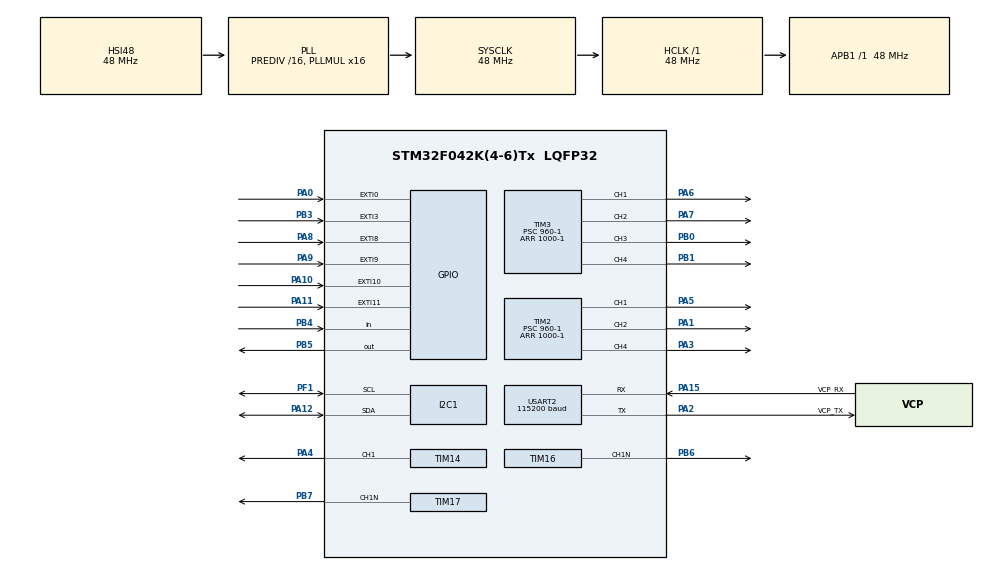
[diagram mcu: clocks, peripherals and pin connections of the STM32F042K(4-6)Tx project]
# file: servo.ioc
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Dma.Request0=USART2_RX
Dma.USART2_RX.0.Direction=DMA_PERIPH_TO_MEMORY
Dma.USART2_RX.0.Instance=DMA1_Channel5
Dma.USART2_RX.0.MemDataAlignment=DMA_MDATAALIGN_BYTE
Dma.USART2_RX.0.MemInc=DMA_MINC_ENABLE
Dma.USART2_RX.0.Mode=DMA_NORMAL
Dma.USART2_RX.0.PeriphDataAlignment=DMA_PDATAALIGN_BYTE
Dma.USART2_RX.0.PeriphInc=DMA_PINC_DISABLE
Dma.USART2_RX.0.Priority=DMA_PRIORITY_LOW
Mcu.Family=STM32F0
Mcu.Name=STM32F042K(4-6)Tx
Mcu.Package=LQFP32
NVIC.DMA1_Channel4_5_IRQn=true\:0\:0\:false\:false\:true\:false\:true
NVIC.EXTI0_1_IRQn=true\:0\:0\:false\:false\:true\:true\:true
NVIC.EXTI2_3_IRQn=true\:0\:0\:false\:false\:true\:true\:true
NVIC.EXTI4_15_IRQn=true\:0\:0\:false\:false\:true\:true\:true
NVIC.USART2_IRQn=true\:0\:0\:false\:false\:true\:true\:true
PA0.GPIO_PuPd=GPIO_PULLDOWN
PA0.Signal=GPXTI0
PA1.Signal=S_TIM2_CH2
PA10.GPIO_PuPd=GPIO_PULLDOWN
PA10.Signal=GPXTI10
PA11.GPIO_PuPd=GPIO_PULLDOWN
PA11.Signal=GPXTI11
PA12.Mode=I2C
PA12.Signal=I2C1_SDA
PA13.GPIO_Label=SWDIO
PA13.Mode=Serial_Wire
PA13.Signal=SYS_SWDIO
PA14.GPIO_Label=SWCLK
PA14.Mode=Serial_Wire
PA14.Signal=SYS_SWCLK
PA15.GPIO_Label=VCP_RX
PA15.Mode=Asynchronous
PA15.Signal=USART2_RX
PA2.GPIO_Label=VCP_TX
PA2.Mode=Asynchronous
PA2.Signal=USART2_TX
PA3.Signal=S_TIM2_CH4
PA4.Signal=S_TIM14_CH1
PA5.Signal=S_TIM2_CH1_ETR
PA6.Signal=S_TIM3_CH1
PA7.Signal=S_TIM3_CH2
PA8.GPIO_PuPd=GPIO_PULLDOWN
PA8.Signal=GPXTI8
PA9.GPIO_PuPd=GPIO_PULLDOWN
PA9.Signal=GPXTI9
PB0.Signal=S_TIM3_CH3
PB1.Signal=S_TIM3_CH4
PB3.GPIO_ModeDefaultEXTI=GPIO_MODE_IT_FALLING
PB3.GPIO_PuPd=GPIO_PULLDOWN
PB3.Signal=GPXTI3
PB4.Signal=GPIO_Input
PB5.Signal=GPIO_Output
PB6.Mode=PWM Generation1 CH1N
PB6.Signal=TIM16_CH1N
PB7.Mode=PWM Generation1 CH1N
PB7.Signal=TIM17_CH1N
PF0-OSC_IN.GPIO_Label=MCO
PF0-OSC_IN.Mode=HSE-External-Clock-Source
PF0-OSC_IN.Signal=RCC_OSC_IN
PF1-OSC_OUT.Mode=I2C
PF1-OSC_OUT.Signal=I2C1_SCL
ProjectManager.HeapSize=0x200
ProjectManager.StackSize=0x400
ProjectManager.TargetToolchain=MDK-ARM V5.32
RCC.AHBFreq_Value=48000000
RCC.APB1Freq_Value=48000000
RCC.APB1TimFreq_Value=48000000
RCC.HCLKFreq_Value=48000000
RCC.PLLDivider=RCC_PREDIV_DIV16
RCC.PLLMUL=RCC_PLL_MUL16
RCC.PLLSourceVirtual=RCC_PLLSOURCE_HSI48
RCC.SYSCLKFreq_VALUE=48000000
RCC.SYSCLKSource=RCC_SYSCLKSOURCE_PLLCLK
SH.S_TIM14_CH1.0=TIM14_CH1,PWM Generation1 CH1
SH.S_TIM2_CH1_ETR.0=TIM2_CH1,PWM Generation1 CH1
SH.S_TIM2_CH2.0=TIM2_CH2,PWM Generation2 CH2
SH.S_TIM2_CH4.0=TIM2_CH4,PWM Generation4 CH4
SH.S_TIM3_CH1.0=TIM3_CH1,PWM Generation1 CH1
SH.S_TIM3_CH2.0=TIM3_CH2,PWM Generation2 CH2
SH.S_TIM3_CH3.0=TIM3_CH3,PWM Generation3 CH3
SH.S_TIM3_CH4.0=TIM3_CH4,PWM Generation4 CH4
TIM14.Channel=TIM_CHANNEL_1
TIM14.Period=1000-1
TIM14.Prescaler=960-1
TIM16.Channel=TIM_CHANNEL_1
TIM16.Period=1000-1
TIM16.Prescaler=960-1
TIM17.Channel=TIM_CHANNEL_1
TIM17.Period=1000-1
TIM17.Prescaler=960-1
TIM2.Channel-PWM\ Generation1\ CH1=TIM_CHANNEL_1
TIM2.Channel-PWM\ Generation2\ CH2=TIM_CHANNEL_2
TIM2.Channel-PWM\ Generation4\ CH4=TIM_CHANNEL_4
TIM2.Period=1000-1
TIM2.Prescaler=960-1
TIM3.Channel-PWM\ Generation1\ CH1=TIM_CHANNEL_1
TIM3.Channel-PWM\ Generation2\ CH2=TIM_CHANNEL_2
TIM3.Channel-PWM\ Generation3\ CH3=TIM_CHANNEL_3
TIM3.Channel-PWM\ Generation4\ CH4=TIM_CHANNEL_4
TIM3.Period=1000-1
TIM3.Prescaler=960-1
USART2.BaudRate=115200
USART2.VirtualMode-Asynchronous=VM_ASYNC
VP_TIM14_VS_ClockSourceINT.Mode=Enable_Timer
VP_TIM16_VS_ClockSourceINT.Mode=Enable_Timer
VP_TIM17_VS_ClockSourceINT.Mode=Enable_Timer
board=NUCLEO-F042K6

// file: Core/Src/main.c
/* USER CODE BEGIN Header */
/**
  ******************************************************************************
  * @file           : main.c
  * @brief          : Main program body
  ******************************************************************************
  * @attention
  *
  * Copyright (c) 2022 STMicroelectronics.
  * All rights reserved.
  *
  * This software is licensed under terms that can be found in the LICENSE file
  * in the root directory of this software component.
  * If no LICENSE file comes with this software, it is provided AS-IS.
  *
  ******************************************************************************
  */
/* USER CODE END Header */
#include "main.h"
#include "dma.h"
#include "i2c.h"
#include "tim.h"
#include "usart.h"
#include "gpio.h"

/* USER CODE BEGIN Includes */
#include <stdio.h> //printf function
#include <string.h>
#include <stdbool.h>
#define JSMN_HEADER
#include "jsmn.h"
#include "servo.h"
/* USER CODE END Includes */

/* USER CODE BEGIN PV */

uint32_t last_time = 0;
uint32_t sub_last_time = 0;
bool rotate_dir;
uint8_t selected_servo;
uint8_t selected_servo_prev=255;
ServoTypeDef servo[6];

/* USER CODE END PV */

void SystemClock_Config(void);

int main(void)
{

  /* MCU Configuration--------------------------------------------------------*/

  /* Reset of all peripherals, Initializes the Flash interface and the Systick. */
  HAL_Init();

  /* Configure the system clock */
  SystemClock_Config();

  /* Initialize all configured peripherals */
  MX_GPIO_Init();
  MX_DMA_Init();
  MX_TIM2_Init();
  MX_TIM3_Init();
  MX_TIM14_Init();
  MX_TIM16_Init();
  MX_TIM17_Init();
  MX_USART2_UART_Init();
  MX_I2C1_Init();
  /* USER CODE BEGIN 2 */

	HAL_UARTEx_ReceiveToIdle_DMA(&huart2, RxBuf, RxBuf_SIZE);
	__HAL_DMA_DISABLE_IT(&hdma_usart2_rx, DMA_IT_HT);

	/* Servo Motors Configuration--------------------------------------------------------*/

	servo[0] = servo_init(.timer=&htim2 , .channel=TIM_CHANNEL_2);
	servo[1] = servo_init(.timer=&htim2 , .channel=TIM_CHANNEL_4);
	servo[2] = servo_init(.timer=&htim14, .channel=TIM_CHANNEL_1);
	servo[3] = servo_init(.timer=&htim2 , .channel=TIM_CHANNEL_1);
	servo[4] = servo_init(.timer=&htim3 , .channel=TIM_CHANNEL_1);
	servo[5] = servo_init(.timer=&htim3 , .channel=TIM_CHANNEL_2);

  /* USER CODE END 2 */

  /* Infinite loop */
  /* USER CODE BEGIN WHILE */
	printf("cjson test\r\n");

  while (1)
  {
    /* USER CODE END WHILE */

    /* USER CODE BEGIN 3 */

		servo_pwm_set(&servo[selected_servo],servo[selected_servo].pwm_value);

  }

  /* USER CODE END 3 */
}

void SystemClock_Config(void)
{
  RCC_OscInitTypeDef RCC_OscInitStruct = {0};
  RCC_ClkInitTypeDef RCC_ClkInitStruct = {0};
  RCC_PeriphCLKInitTypeDef PeriphClkInit = {0};

  /** Initializes the RCC Oscillators according to the specified parameters
  * in the RCC_OscInitTypeDef structure.
  */
  RCC_OscInitStruct.OscillatorType = RCC_OSCILLATORTYPE_HSI|RCC_OSCILLATORTYPE_HSI48;
  RCC_OscInitStruct.HSIState = RCC_HSI_ON;
  RCC_OscInitStruct.HSI48State = RCC_HSI48_ON;
  RCC_OscInitStruct.HSICalibrationValue = RCC_HSICALIBRATION_DEFAULT;
  RCC_OscInitStruct.PLL.PLLState = RCC_PLL_ON;
  RCC_OscInitStruct.PLL.PLLSource = RCC_PLLSOURCE_HSI48;
  RCC_OscInitStruct.PLL.PLLMUL = RCC_PLL_MUL16;
  RCC_OscInitStruct.PLL.PREDIV = RCC_PREDIV_DIV16;
  if (HAL_RCC_OscConfig(&RCC_OscInitStruct) != HAL_OK)
  {
    Error_Handler();
  }
  /** Initializes the CPU, AHB and APB buses clocks
  */
  RCC_ClkInitStruct.ClockType = RCC_CLOCKTYPE_HCLK|RCC_CLOCKTYPE_SYSCLK
                              |RCC_CLOCKTYPE_PCLK1;
  RCC_ClkInitStruct.SYSCLKSource = RCC_SYSCLKSOURCE_PLLCLK;
  RCC_ClkInitStruct.AHBCLKDivider = RCC_SYSCLK_DIV1;
  RCC_ClkInitStruct.APB1CLKDivider = RCC_HCLK_DIV1;

  if (HAL_RCC_ClockConfig(&RCC_ClkInitStruct, FLASH_LATENCY_1) != HAL_OK)
  {
    Error_Handler();
  }
  PeriphClkInit.PeriphClockSelection = RCC_PERIPHCLK_I2C1;
  PeriphClkInit.I2c1ClockSelection = RCC_I2C1CLKSOURCE_HSI;
  if (HAL_RCCEx_PeriphCLKConfig(&PeriphClkInit) != HAL_OK)
  {
    Error_Handler();
  }
}

void Error_Handler(void)
{
  __disable_irq();
  while (1)
  {
  }
}
